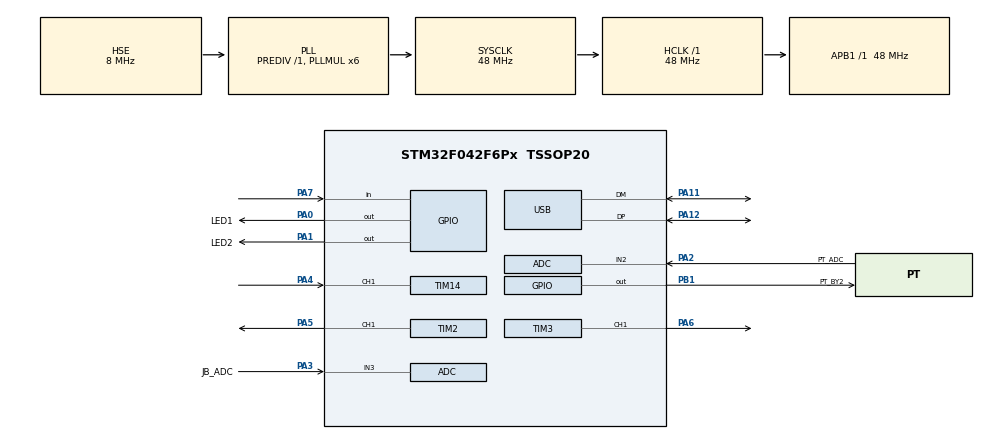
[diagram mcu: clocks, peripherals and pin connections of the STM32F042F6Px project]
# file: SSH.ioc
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ADC.ClockPrescaler=ADC_CLOCK_ASYNC_DIV1
ADC.ContinuousConvMode=DISABLE
ADC.DMAContinuousRequests=ENABLE
ADC.DiscontinuousConvMode=DISABLE
ADC.EOCSelection=ADC_EOC_SEQ_CONV
ADC.EnableAnalogWatchDog=false
ADC.ExternalTrigConv=ADC_EXTERNALTRIGCONV_T2_TRGO
ADC.ExternalTrigConvEdge=ADC_EXTERNALTRIGCONVEDGE_RISING
ADC.Overrun=ADC_OVR_DATA_OVERWRITTEN
ADC.SamplingTime=ADC_SAMPLETIME_71CYCLES_5
ADC.ScanConvMode=ADC_SCAN_DIRECTION_FORWARD
Dma.ADC.2.Direction=DMA_PERIPH_TO_MEMORY
Dma.ADC.2.Instance=DMA1_Channel1
Dma.ADC.2.MemDataAlignment=DMA_MDATAALIGN_HALFWORD
Dma.ADC.2.MemInc=DMA_MINC_ENABLE
Dma.ADC.2.Mode=DMA_CIRCULAR
Dma.ADC.2.PeriphDataAlignment=DMA_PDATAALIGN_HALFWORD
Dma.ADC.2.PeriphInc=DMA_PINC_DISABLE
Dma.ADC.2.Priority=DMA_PRIORITY_LOW
Dma.Request0=TIM2_CH1
Dma.Request1=TIM3_CH1/TRIG
Dma.Request2=ADC
Dma.TIM2_CH1.0.Direction=DMA_PERIPH_TO_MEMORY
Dma.TIM2_CH1.0.Instance=DMA1_Channel5
Dma.TIM2_CH1.0.MemDataAlignment=DMA_MDATAALIGN_WORD
Dma.TIM2_CH1.0.MemInc=DMA_MINC_ENABLE
Dma.TIM2_CH1.0.Mode=DMA_CIRCULAR
Dma.TIM2_CH1.0.PeriphDataAlignment=DMA_PDATAALIGN_WORD
Dma.TIM2_CH1.0.PeriphInc=DMA_PINC_DISABLE
Dma.TIM2_CH1.0.Priority=DMA_PRIORITY_LOW
Dma.TIM3_CH1/TRIG.1.Direction=DMA_PERIPH_TO_MEMORY
Dma.TIM3_CH1/TRIG.1.Instance=DMA1_Channel4
Dma.TIM3_CH1/TRIG.1.MemDataAlignment=DMA_MDATAALIGN_HALFWORD
Dma.TIM3_CH1/TRIG.1.MemInc=DMA_MINC_ENABLE
Dma.TIM3_CH1/TRIG.1.Mode=DMA_CIRCULAR
Dma.TIM3_CH1/TRIG.1.PeriphDataAlignment=DMA_PDATAALIGN_HALFWORD
Dma.TIM3_CH1/TRIG.1.PeriphInc=DMA_PINC_DISABLE
Dma.TIM3_CH1/TRIG.1.Priority=DMA_PRIORITY_LOW
Mcu.Family=STM32F0
Mcu.Name=STM32F042F6Px
Mcu.Package=TSSOP20
NVIC.DMA1_Channel1_IRQn=true\:1\:0\:true\:false\:true\:false\:true\:true
NVIC.DMA1_Channel4_5_IRQn=true\:1\:0\:true\:false\:true\:false\:true\:true
NVIC.TIM14_IRQn=true\:1\:0\:true\:false\:true\:true\:true\:true
NVIC.USB_IRQn=true\:0\:0\:false\:false\:true\:false\:true\:true
PA0.GPIO_Label=LED1
PA0.Signal=GPIO_Output
PA1.GPIO_Label=LED2
PA1.GPIO_PuPd=GPIO_NOPULL
PA1.PinState=GPIO_PIN_RESET
PA1.Signal=GPIO_Output
PA11.Mode=Device
PA11.Signal=USB_DM
PA12.Mode=Device
PA12.Signal=USB_DP
PA13.Mode=Serial_Wire
PA13.Signal=SYS_SWDIO
PA14.Mode=Serial_Wire
PA14.Signal=SYS_SWCLK
PA2.GPIO_Label=PT_ADC
PA2.Mode=IN2
PA2.Signal=ADC_IN2
PA3.GPIO_Label=JB_ADC
PA3.Mode=IN3
PA3.Signal=ADC_IN3
PA4.Signal=S_TIM14_CH1
PA5.Signal=S_TIM2_CH1_ETR
PA6.Signal=S_TIM3_CH1
PA7.Signal=GPIO_Input
PB1.GPIO_Label=PT_BY2
PB1.GPIO_PuPd=GPIO_PULLDOWN
PB1.Signal=GPIO_Output
PF0-OSC_IN.Mode=HSE-External-Oscillator
PF0-OSC_IN.Signal=RCC_OSC_IN
PF1-OSC_OUT.Mode=HSE-External-Oscillator
PF1-OSC_OUT.Signal=RCC_OSC_OUT
ProjectManager.HeapSize=0x400
ProjectManager.StackSize=0x400
ProjectManager.TargetToolchain=MDK-ARM V5.32
RCC.AHBFreq_Value=48000000
RCC.APB1Freq_Value=48000000
RCC.APB1TimFreq_Value=48000000
RCC.HCLKFreq_Value=48000000
RCC.PLLMUL=RCC_PLL_MUL6
RCC.PLLSourceVirtual=RCC_PLLSOURCE_HSE
RCC.SYSCLKFreq_VALUE=48000000
RCC.SYSCLKSource=RCC_SYSCLKSOURCE_PLLCLK
SH.S_TIM14_CH1.0=TIM14_CH1,Input_Capture1_from_TI1
SH.S_TIM2_CH1_ETR.0=TIM2_CH1,PWM Generation1 CH1
SH.S_TIM3_CH1.0=TIM3_CH1,PWM Generation1 CH1
TIM14.Channel=TIM_CHANNEL_1
TIM14.ICFilter_CH1=0
TIM14.Period=999
TIM14.Prescaler=47
TIM2.Channel-PWM\ Generation1\ CH1=TIM_CHANNEL_1
TIM2.Period=2399
TIM2.Prescaler=1
TIM2.TIM_MasterOutputTrigger=TIM_TRGO_UPDATE
TIM2.TIM_MasterSlaveMode=TIM_MASTERSLAVEMODE_DISABLE
TIM3.Channel-PWM\ Generation1\ CH1=TIM_CHANNEL_1
TIM3.Period=2399
TIM3.Prescaler=1
USB_DEVICE.APP_RX_DATA_SIZE=64
USB_DEVICE.APP_TX_DATA_SIZE=64
USB_DEVICE.CLASS_NAME_FS=CDC
USB_DEVICE.USBD_MAX_NUM_INTERFACES=2
USB_DEVICE.USBD_SELF_POWERED=0
USB_DEVICE.VirtualMode=Cdc
USB_DEVICE.VirtualModeFS=Cdc_FS
VP_SYS_VS_PINREMAP.Mode=PINREMAP
VP_TIM14_VS_ClockSourceINT.Mode=Enable_Timer
VP_TIM2_VS_ClockSourceINT.Mode=Internal
VP_TIM3_VS_ClockSourceINT.Mode=Internal
VP_TIM3_VS_ClockSourceITR.Mode=TriggerSource_ITR1
VP_TIM3_VS_ControllerModeReset.Mode=Reset Mode
VP_USB_DEVICE_VS_USB_DEVICE_CDC_FS.Mode=CDC_FS
board=custom

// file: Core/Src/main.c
/* USER CODE BEGIN Header */
/**
  ******************************************************************************
  * @file           : main.c
  * @brief          : Main program body
  ******************************************************************************
  * @attention
  *
  * Copyright (c) 2026 STMicroelectronics.
  * All rights reserved.
  *
  * This software is licensed under terms that can be found in the LICENSE file
  * in the root directory of this software component.
  * If no LICENSE file comes with this software, it is provided AS-IS.
  *
  ******************************************************************************
  */
/* USER CODE END Header */
#include "main.h"
#include "adc.h"
#include "dma.h"
#include "tim.h"
#include "usb_device.h"
#include "gpio.h"

/* USER CODE BEGIN Includes */
#include "Motor_Control.h"
#include "usb.h"
#include "USB_Link.h"
#include "GND_Scan.h"
#include "usbd_cdc_if.h"
#include "bsp_ADC.h"
#include "Level_Detect.h"

/* USER CODE END Includes */

/* USER CODE BEGIN PM */
volatile uint8_t level_state = 0; // 当前确认的液位状态(返回值)
/* USER CODE END PM */

void SystemClock_Config(void);

int main(void)
{

  /* MCU Configuration--------------------------------------------------------*/

  /* Reset of all peripherals, Initializes the Flash interface and the Systick. */
  HAL_Init();

  /* Configure the system clock */
  SystemClock_Config();

  /* USER CODE BEGIN SysInit */
		USB_SoftReset();
  /* USER CODE END SysInit */

  /* Initialize all configured peripherals */
  MX_GPIO_Init();
  MX_DMA_Init();
  MX_TIM2_Init();
  MX_TIM3_Init();
  MX_USB_DEVICE_Init();
  MX_TIM14_Init();
  MX_ADC_Init();
  /* USER CODE BEGIN 2 */
  // ADC 必须校准（F0 必加）
  HAL_ADCEx_Calibration_Start(&hadc);
  HAL_Delay(5);
  // 启动 ADC DMA 双路采集（循环模式）
	  ADC_Start();
//	 HAL_TIM_Base_Start(&htim1);
	HAL_TIM_PWM_Start_DMA(&htim3, TIM_CHANNEL_1, (uint32_t*)&mix_pwm_duty, 1);	// 启动搅拌电机
	HAL_TIM_PWM_Start_DMA(&htim2, TIM_CHANNEL_1, (uint32_t*)&spray_pwm_duty, 1);	// 启动喷涂电机
  HAL_TIM_Base_Start_IT(&htim14);  // 启动1秒更新中断
  HAL_TIM_IC_Start_IT(&htim14, TIM_CHANNEL_1);  // 开启捕获中断
	// USB_SoftReset(); // 强制重新枚举,放在MX_USB_DEVICE_Init()前面，确保每次上电都能正确枚举
	USB_Link_Init(&usb_link);  // 上下位机连接异常检测初始化(须在 MX_USB_DEVICE_Init() 之后)
  /* USER CODE END 2 */

  /* Infinite loop */
  while (1)
  {

    /* USER CODE BEGIN 3 */
    USB_Link_Process(&usb_link); // 上下位机连接异常检测 + 自动软重连(非阻塞)

    if(Current_flag==1)
    {
      //
      ADC_Get_Current(); // 获取电流值并更新 motor1_cur 和 motor2_cur
      Motor_SPRAY_Current_Limit(); // 喷涂电机限流
      Motor_MIX_Current_Limit();   // 搅拌电机限流
      level_state = Level_GetState(); // 获取液位状态
      Current_flag=0;
    }

    if(GND_State==0)// 已接地，正常工作
    {
      HAL_GPIO_WritePin(GPIOA, GPIO_PIN_1, GPIO_PIN_RESET); // LED2接地指示灯灭

    }else if(GND_State==2) // 接地不良，进入警告模式
    {

      if(LED_flag==1)HAL_GPIO_TogglePin(GPIOA, GPIO_PIN_1); // LED2接地指示灯闪烁
    }
    else      // 未接地，进入安全模式
    {
      HAL_GPIO_WritePin(GPIOA, GPIO_PIN_1, GPIO_PIN_SET); // LED2接地指示灯亮
    }

//    if(level_state == 1) // 有液位
//    {

      if(GET_BIT(system_state_data.Motor_Control, SPRAY_STATE))// 喷涂电机打开
      {
        HAL_GPIO_WritePin(GPIOB, GPIO_PIN_1, GPIO_PIN_RESET);
        if(system_state_data.History_SPRAY_duty_percent<10)system_state_data.History_SPRAY_duty_percent=10;
        Motor_SPRAY_SPEED_Set(system_state_data.spray_motor_speed);
      }
      else
      {
        HAL_GPIO_WritePin(GPIOB, GPIO_PIN_1, GPIO_PIN_SET);
        system_state_data.spray_motor_speed = 0; // 关闭喷涂电机，重置占空比
        Motor_SPRAY_SPEED_Set(system_state_data.spray_motor_speed);
      }

      if(GET_BIT(system_state_data.Motor_Control, Auto_MIX_STATE))// 搅拌电机自动模式
      {
        if(system_state_data.Auto_continuous_time == 0)system_state_data.Auto_continuous_time = 1;
        if(system_state_data.Auto_interval_time == 0)system_state_data.Auto_interval_time = 1;
        if(system_state_data.Auto_State == 0) // 当前在搅拌时间计数
        {
          if(system_state_data.History_MIX_duty_percent<10)system_state_data.History_MIX_duty_percent=10;
          Motor_MIX_SPEED_Set(system_state_data.mix_motor_speed);
        }
        else // 当前在间隔时间计数
        {
            system_state_data.mix_motor_speed = 0; // 手动关闭搅拌电机
            Motor_MIX_SPEED_Set(system_state_data.mix_motor_speed);
        }
      }
      else
      {
          system_state_data.Current_Auto_continuous_time_Cnt = 0; // 退出自动模式，重置搅拌时间计数
          system_state_data.Current_Auto_interval_time_Cnt = 0;   // 退出自动模式，重置间隔时间计数
          system_state_data.Auto_State = 0; // 退出自动模式，重置自动模式状态
          if(GET_BIT(system_state_data.Motor_Control, MIX_STATE))// 搅拌电机手动打开
          {
            if(system_state_data.History_MIX_duty_percent<10)system_state_data.History_MIX_duty_percent=10;
            Motor_MIX_SPEED_Set(system_state_data.mix_motor_speed);
          }
          else
          {
            system_state_data.mix_motor_speed = 0; // 手动关闭搅拌电机，重置占空比
            Motor_MIX_SPEED_Set(system_state_data.mix_motor_speed);
          }
      }
//    }
//    else // 无液位，进入安全模式
//    {
//      system_state_data.spray_motor_speed = 0; // 关闭喷涂电机，重置占空比
//      Motor_SPRAY_SPEED_Set(system_state_data.spray_motor_speed);
//      system_state_data.mix_motor_speed = 0; // 关闭搅拌电机，重置占空比
//      Motor_MIX_SPEED_Set(system_state_data.mix_motor_speed);
//    }

    if(TX_flag==1&&USB_Receive_flag==0)
		{
			USB_Tx_SendFrame(0x00,system_state_data.Motor_Control,system_state_data.History_SPRAY_duty_percent,
                                 system_state_data.History_MIX_duty_percent,system_state_data.Auto_continuous_time,
                                 system_state_data.Auto_interval_time,GND_State,level_state);//上位机数据上报
			TX_flag=0;
		}
		if(USB_Receive_flag)//USB数据处理
    {
      USB_Rx_Parse(usb_Receive_buf, &usb_Receive_Len);
      USB_Receive_flag = 0;
      // start_flag = 1; // 接收到USB数据，设置启动标志
    }

  }
  /* USER CODE END 3 */
}

void SystemClock_Config(void)
{
  RCC_OscInitTypeDef RCC_OscInitStruct = {0};
  RCC_ClkInitTypeDef RCC_ClkInitStruct = {0};
  RCC_PeriphCLKInitTypeDef PeriphClkInit = {0};

  /** Initializes the RCC Oscillators according to the specified parameters
  * in the RCC_OscInitTypeDef structure.
  */
  RCC_OscInitStruct.OscillatorType = RCC_OSCILLATORTYPE_HSI14|RCC_OSCILLATORTYPE_HSI48
                              |RCC_OSCILLATORTYPE_HSE;
  RCC_OscInitStruct.HSEState = RCC_HSE_ON;
  RCC_OscInitStruct.HSI48State = RCC_HSI48_ON;
  RCC_OscInitStruct.HSI14State = RCC_HSI14_ON;
  RCC_OscInitStruct.HSI14CalibrationValue = 16;
  RCC_OscInitStruct.PLL.PLLState = RCC_PLL_ON;
  RCC_OscInitStruct.PLL.PLLSource = RCC_PLLSOURCE_HSE;
  RCC_OscInitStruct.PLL.PLLMUL = RCC_PLL_MUL6;
  RCC_OscInitStruct.PLL.PREDIV = RCC_PREDIV_DIV1;
  if (HAL_RCC_OscConfig(&RCC_OscInitStruct) != HAL_OK)
  {
    Error_Handler();
  }

  /** Initializes the CPU, AHB and APB buses clocks
  */
  RCC_ClkInitStruct.ClockType = RCC_CLOCKTYPE_HCLK|RCC_CLOCKTYPE_SYSCLK
                              |RCC_CLOCKTYPE_PCLK1;
  RCC_ClkInitStruct.SYSCLKSource = RCC_SYSCLKSOURCE_PLLCLK;
  RCC_ClkInitStruct.AHBCLKDivider = RCC_SYSCLK_DIV1;
  RCC_ClkInitStruct.APB1CLKDivider = RCC_HCLK_DIV1;

  if (HAL_RCC_ClockConfig(&RCC_ClkInitStruct, FLASH_LATENCY_1) != HAL_OK)
  {
    Error_Handler();
  }
  PeriphClkInit.PeriphClockSelection = RCC_PERIPHCLK_USB;
  PeriphClkInit.UsbClockSelection = RCC_USBCLKSOURCE_HSI48;

  if (HAL_RCCEx_PeriphCLKConfig(&PeriphClkInit) != HAL_OK)
  {
    Error_Handler();
  }
  HAL_RCC_MCOConfig(RCC_MCO, RCC_MCO1SOURCE_SYSCLK, RCC_MCODIV_1);
}

void Error_Handler(void)
{
  __disable_irq();
  while (1)
  {
  }
}
